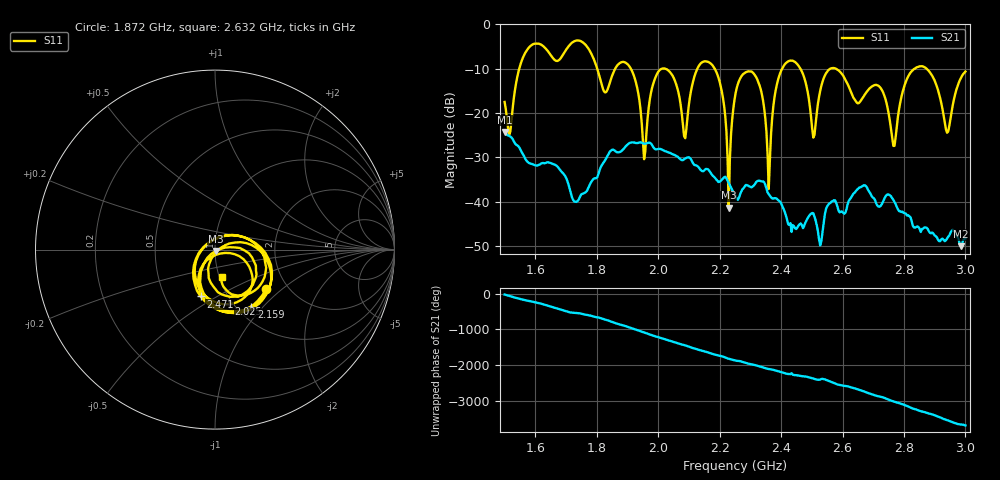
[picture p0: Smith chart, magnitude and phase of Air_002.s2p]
# HZ S RI R 50
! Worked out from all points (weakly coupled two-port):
!   404 points, 1.5 GHz to 3 GHz, reference 50 ohm
!   highest |S21| = -24.28 dB at 1.5 GHz (marker M1); lowest = -50.0 dB at 2.985 GHz (marker M2)
!   lowest |S11| = -41.3 dB at 2.23 GHz (marker M3), VSWR 1.02, Z = 50.4 - j0.77 ohm
!   |S11| at or under -10 dB: 2.184 GHz to 2.404 GHz (220 MHz wide, 9.59 % of centre); 2.577 GHz to 2.836 GHz (258.7 MHz wide, 9.56 % of centre); 2.873 GHz to end of sweep (the widest 3 of 8)
!   S12 and S22 are empty: the file has one direction only
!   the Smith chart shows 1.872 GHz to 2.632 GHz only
!   S11 on the Smith chart (normalised r, x): 1.872 GHz: 1.56, -0.78; 2.025 GHz: 0.95, -0.64; 2.159 GHz: 1.16, -0.86; 2.471 GHz: 0.75, -0.42; 2.632 GHz: 1.02, -0.33
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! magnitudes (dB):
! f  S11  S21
! 1.5 GHz  -17.5  -24.3
! 1.753 GHz  -4.0  -38.2
! 1.872 GHz  -8.9  -28.9
! 1.954 GHz  -30.4  -26.9
! 2.002 GHz  -10.5  -28.1
! 2.025 GHz  -10.1  -28.7
! 2.088 GHz  -25.7  -30.3
! 2.159 GHz  -8.5  -32.6
! 2.23 GHz  -41.3  -35.8
! 2.252 GHz  -15.6  -38.7
! 2.319 GHz  -11.9  -35.6
! 2.36 GHz  -37.1  -38.3
! 2.401 GHz  -10.4  -40.4
! 2.471 GHz  -11.3  -45.9
! 2.501 GHz  -23.5  -42.5
! 2.557 GHz  -10.2  -40.4
! 2.632 GHz  -16.0  -38.6
! 2.751 GHz  -20.3  -38.4
! 2.859 GHz  -9.5  -46.1
! 2.94 GHz  -24.5  -48.3
! 2.985 GHz  -12.2  -50.0
! 3 GHz  -10.7  -48.3
